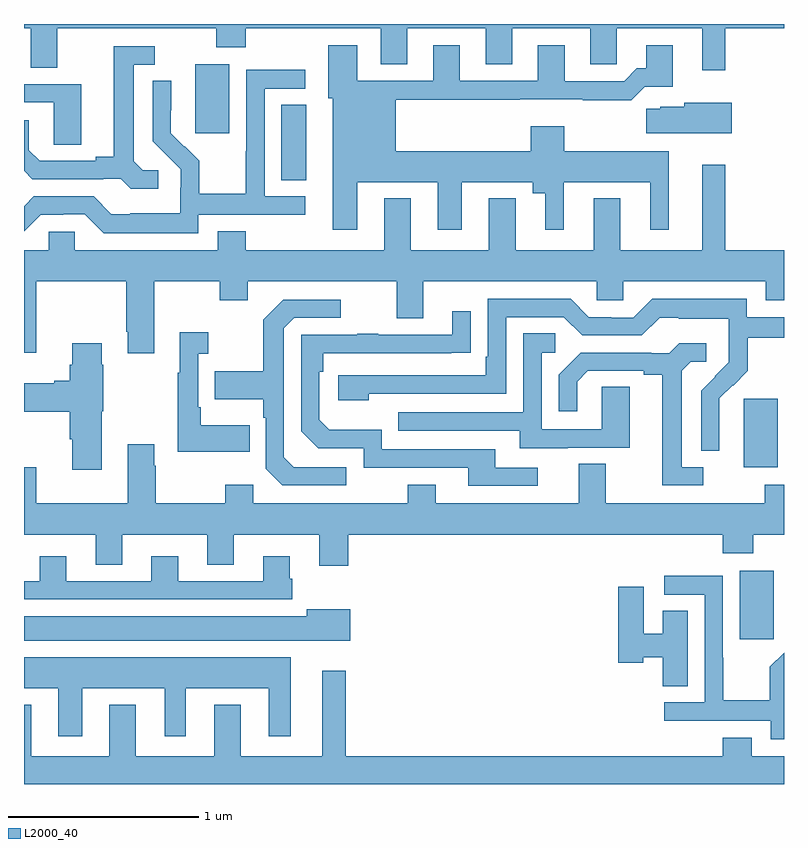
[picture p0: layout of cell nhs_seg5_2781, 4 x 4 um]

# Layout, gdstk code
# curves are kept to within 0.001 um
import gdstk
lib = gdstk.Library(unit=1e-6, precision=1e-09)
def R(c, l, rs):  # rectangles x0, y0, x1, y1
    for r in rs: c.add(gdstk.rectangle(r[:2], r[2:], *l))
def P(c, l, *ps):  # polygons
    for p in ps: c.add(gdstk.Polygon(p, *l))
L2000_40 = (2000, 40)

nhs_seg5_2781 = lib.new_cell('nhs_seg5_2781')
R(nhs_seg5_2781, L2000_40, [(276.767,837.561,276.946,837.922), (276.788,838.466,276.967,838.827), (274.355,839.977,274.486,840.374), (273.902,840.225,274.081,840.586)])
P(nhs_seg5_2781, L2000_40, [(276.691,840.776),(277,840.776),(277,840.799),(273,840.799),(273,840.776),(273.035,840.776),(273.035,840.568),(273.175,840.568),(273.175,840.776),(274.012,840.776),(274.012,840.677),(274.167,840.677),(274.167,840.776),(274.877,840.776),(274.877,840.586),(275.017,840.586),(275.017,840.776),(275.429,840.776),(275.429,840.586),(275.569,840.586),(275.569,840.776),(275.981,840.776),(275.981,840.586),(276.12,840.586),(276.12,840.776),(276.569,840.776),(276.569,840.555),(276.691,840.555)],
  [(274.753,839.966),(275.177,839.966),(275.177,839.715),(275.305,839.715),(275.305,839.966),(275.678,839.966),(275.678,839.909),(275.744,839.909),(275.744,839.715),(275.842,839.715),(275.842,839.966),(276.296,839.966),(276.296,839.715),(276.394,839.715),(276.394,840.13),(275.844,840.13),(275.844,840.262),(275.666,840.262),(275.666,840.13),(274.957,840.13),(274.957,840.4),(275.609,840.4),(275.609,840.404),(275.941,840.404),(275.941,840.398),(276.197,840.398),(276.267,840.468),(276.415,840.468),(276.415,840.688),(276.275,840.688),(276.275,840.565),(276.226,840.565),(276.159,840.498),(275.845,840.498),(275.845,840.688),(275.705,840.688),(275.705,840.501),(275.293,840.501),(275.293,840.688),(275.153,840.688),(275.153,840.501),(274.753,840.501),(274.753,840.688),(274.601,840.688),(274.601,840.408),(274.625,840.408),(274.625,839.715),(274.753,839.715)],
  [(273.706,840.03),(273.624,840.03),(273.577,840.077),(273.577,840.585),(273.688,840.585),(273.688,840.681),(273.473,840.681),(273.473,840.101),(273.377,840.101),(273.377,840.078),(273.082,840.078),(273.025,840.135),(273.025,840.292),(273,840.292),(273,840.026),(273.044,839.982),(273.416,839.982),(273.416,839.985),(273.51,839.985),(273.562,839.933),(273.706,839.933)],
  [(273.918,839.796),(274.48,839.796),(274.48,839.892),(274.266,839.892),(274.266,840.459),(274.48,840.459),(274.48,840.558),(274.17,840.558),(274.17,840.128),(274.168,840.128),(274.168,839.905),(273.923,839.905),(273.923,840.079),(273.846,840.156),(273.843,840.153),(273.773,840.224),(273.774,840.5),(273.678,840.5),(273.678,840.182),(273.824,840.034),(273.824,839.937),(273.822,839.937),(273.822,839.803),(273.559,839.803),(273.559,839.799),(273.459,839.799),(273.366,839.892),(273.051,839.892),(273,839.841),(273,839.709),(273.087,839.796),(273.206,839.796),(273.206,839.799),(273.321,839.799),(273.421,839.699),(273.918,839.699)],
  [(273.301,840.483),(273,840.483),(273,840.387),(273.156,840.387),(273.156,840.163),(273.301,840.163)],
  [(276.724,840.385),(276.474,840.385),(276.474,840.364),(276.348,840.364),(276.348,840.353),(276.276,840.353),(276.276,840.224),(276.724,840.224)],
  [(273.685,839.444),(274.03,839.444),(274.03,839.345),(274.177,839.345),(274.177,839.444),(274.961,839.444),(274.961,839.25),(275.101,839.25),(275.101,839.444),(276.015,839.444),(276.015,839.346),(276.153,839.346),(276.153,839.444),(276.905,839.444),(276.905,839.345),(277,839.345),(277,839.608),(276.691,839.608),(276.691,840.058),(276.569,840.058),(276.569,839.608),(276.139,839.608),(276.139,839.881),(275.999,839.881),(275.999,839.608),(275.587,839.608),(275.587,839.881),(275.447,839.881),(275.447,839.608),(275.035,839.608),(275.035,839.881),(274.895,839.881),(274.895,839.608),(274.167,839.608),(274.167,839.707),(274.019,839.707),(274.019,839.608),(273.267,839.608),(273.267,839.706),(273.129,839.706),(273.129,839.608),(273,839.608),(273,839.07),(273.064,839.07),(273.064,839.444),(273.538,839.444),(273.538,839.179),(273.545,839.179),(273.545,839.067),(273.685,839.067)],
  [(276.66,838.706),(276.659,838.829),(276.729,838.899),(276.732,838.896),(276.809,838.973),(276.809,839.148),(277,839.148),(277,839.256),(276.804,839.256),(276.804,839.353),(276.307,839.353),(276.207,839.253),(276.092,839.253),(276.092,839.256),(275.973,839.256),(275.877,839.352),(275.442,839.352),(275.442,839.047),(275.429,839.047),(275.429,838.95),(274.653,838.95),(274.653,838.82),(274.814,838.82),(274.814,838.854),(275.538,838.854),(275.538,839.256),(275.841,839.256),(275.937,839.16),(276.252,839.16),(276.345,839.253),(276.445,839.253),(276.445,839.249),(276.708,839.249),(276.708,839.115),(276.71,839.115),(276.71,839.018),(276.564,838.87),(276.564,838.552),(276.66,838.552)],
  [(274.696,838.467),(274.419,838.467),(274.368,838.518),(274.368,839.199),(274.422,839.253),(274.666,839.253),(274.666,839.349),(274.365,839.349),(274.26,839.243),(274.26,838.971),(274.003,838.971),(274.003,838.823),(274.26,838.823),(274.26,838.727),(274.272,838.727),(274.272,838.458),(274.359,838.371),(274.696,838.371)],
  [(275.704,838.464),(275.479,838.464),(275.479,838.56),(274.884,838.56),(274.884,838.663),(274.607,838.663),(274.554,838.716),(274.554,838.97),(274.574,838.97),(274.574,839.067),(275.351,839.068),(275.351,839.287),(275.255,839.287),(275.255,839.163),(274.865,839.163),(274.865,839.168),(274.753,839.168),(274.753,839.163),(274.458,839.163),(274.458,838.656),(274.548,838.566),(274.788,838.566),(274.788,838.464),(275.339,838.464),(275.339,838.368),(275.704,838.368)],
  [(274.187,838.687),(273.931,838.687),(273.931,838.783),(273.918,838.783),(273.918,839.063),(273.97,839.063),(273.97,839.176),(273.821,839.176),(273.821,838.963),(273.81,838.963),(273.81,838.547),(274.187,838.547)],
  [(275.863,838.569),(276.187,838.569),(276.187,838.889),(276.042,838.889),(276.042,838.665),(275.724,838.665),(275.724,839.07),(275.797,839.07),(275.797,839.171),(275.628,839.171),(275.628,838.755),(274.969,838.755),(274.969,838.659),(275.609,838.659),(275.609,838.565),(275.863,838.565)],
  [(276.574,838.467),(276.463,838.467),(276.463,838.975),(276.51,839.022),(276.592,839.022),(276.592,839.119),(276.448,839.119),(276.396,839.067),(276.302,839.067),(276.302,839.07),(275.93,839.07),(275.814,838.954),(275.814,838.761),(275.911,838.761),(275.911,838.917),(275.968,838.974),(276.263,838.974),(276.263,838.952),(276.359,838.952),(276.359,838.371),(276.574,838.371)],
  [(273.409,838.761),(273.417,838.761),(273.417,839.006),(273.409,839.006),(273.409,839.119),(273.254,839.119),(273.254,839.006),(273.242,839.006),(273.242,838.922),(273.158,838.922),(273.158,838.909),(273,838.909),(273,838.757),(273.242,838.757),(273.242,838.613),(273.254,838.613),(273.254,838.452),(273.409,838.452)],
  [(274.706,838.112),(276.677,838.112),(276.677,838.013),(276.837,838.013),(276.837,838.112),(277,838.112),(277,838.375),(276.898,838.375),(276.898,838.276),(276.061,838.276),(276.061,838.484),(275.921,838.484),(275.921,838.276),(275.167,838.276),(275.167,838.375),(275.02,838.375),(275.02,838.276),(274.206,838.276),(274.206,838.375),(274.06,838.375),(274.06,838.276),(273.693,838.276),(273.693,838.475),(273.685,838.475),(273.685,838.588),(273.545,838.588),(273.545,838.276),(273.064,838.276),(273.064,838.465),(273,838.465),(273,838.112),(273.377,838.112),(273.377,837.952),(273.517,837.952),(273.517,838.112),(273.965,838.112),(273.965,837.952),(274.105,837.952),(274.105,838.112),(274.553,838.112),(274.553,837.948),(274.706,837.948)],
  [(274.412,837.879),(274.399,837.879),(274.399,837.997),(274.259,837.997),(274.259,837.867),(273.811,837.867),(273.811,837.997),(273.671,837.997),(273.671,837.867),(273.223,837.867),(273.223,837.997),(273.083,837.997),(273.083,837.867),(273,837.867),(273,837.771),(274.412,837.771)],
  [(277,837.49),(276.925,837.415),(276.925,837.241),(276.681,837.241),(276.681,837.464),(276.678,837.464),(276.678,837.894),(276.369,837.894),(276.369,837.795),(276.582,837.795),(276.582,837.228),(276.369,837.228),(276.369,837.132),(276.93,837.132),(276.93,837.035),(277,837.035)],
  [(276.493,837.71),(276.362,837.71),(276.362,837.589),(276.262,837.589),(276.262,837.838),(276.128,837.838),(276.128,837.437),(276.258,837.437),(276.258,837.467),(276.362,837.467),(276.362,837.313),(276.493,837.313)],
  [(274.717,837.718),(274.487,837.718),(274.487,837.682),(273,837.682),(273,837.554),(274.717,837.554)],
  [(273.307,837.302),(273.74,837.302),(273.74,837.051),(273.85,837.051),(273.85,837.302),(274.289,837.302),(274.289,837.051),(274.405,837.051),(274.405,837.466),(273,837.466),(273,837.302),(273.179,837.302),(273.179,837.051),(273.307,837.051)],
  [(277,836.944),(276.829,836.944),(276.829,837.043),(276.677,837.043),(276.677,836.944),(274.693,836.944),(274.693,837.394),(274.571,837.394),(274.571,836.944),(274.141,836.944),(274.141,837.217),(274.001,837.217),(274.001,836.944),(273.589,836.944),(273.589,837.217),(273.449,837.217),(273.449,836.944),(273.037,836.944),(273.037,837.217),(273,837.217),(273,836.799),(277,836.799)])

lib.write_gds('nhs_seg5_2781.gds')
